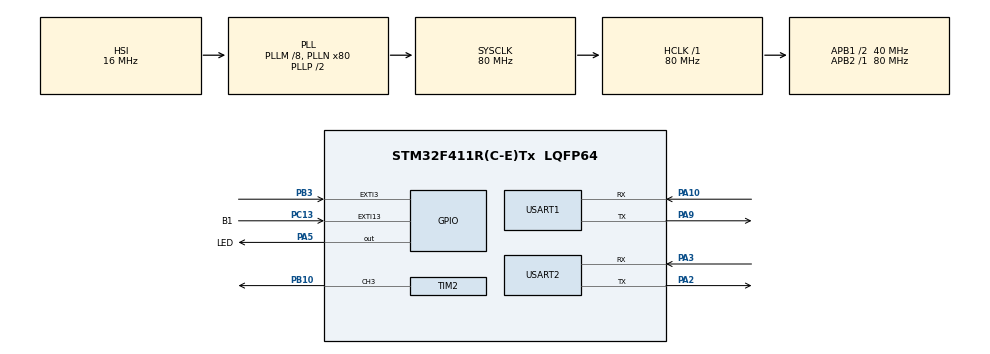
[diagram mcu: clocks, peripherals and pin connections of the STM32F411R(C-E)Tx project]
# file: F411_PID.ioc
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Dma.Request0=USART2_RX
Dma.USART2_RX.0.Direction=DMA_PERIPH_TO_MEMORY
Dma.USART2_RX.0.FIFOMode=DMA_FIFOMODE_DISABLE
Dma.USART2_RX.0.Instance=DMA1_Stream5
Dma.USART2_RX.0.MemDataAlignment=DMA_MDATAALIGN_BYTE
Dma.USART2_RX.0.MemInc=DMA_MINC_ENABLE
Dma.USART2_RX.0.Mode=DMA_NORMAL
Dma.USART2_RX.0.PeriphDataAlignment=DMA_PDATAALIGN_BYTE
Dma.USART2_RX.0.PeriphInc=DMA_PINC_DISABLE
Dma.USART2_RX.0.Priority=DMA_PRIORITY_LOW
Mcu.Family=STM32F4
Mcu.Name=STM32F411R(C-E)Tx
Mcu.Package=LQFP64
NVIC.DMA1_Stream5_IRQn=true\:0\:0\:false\:false\:true\:false\:true\:true
NVIC.EXTI15_10_IRQn=true\:0\:0\:false\:false\:true\:true\:true\:true
NVIC.EXTI3_IRQn=true\:0\:0\:false\:false\:true\:true\:true\:true
NVIC.PriorityGroup=NVIC_PRIORITYGROUP_4
NVIC.USART2_IRQn=true\:0\:0\:false\:false\:true\:true\:true\:true
PA10.Mode=Asynchronous
PA10.Signal=USART1_RX
PA13.Mode=Serial_Wire
PA13.Signal=SYS_JTMS-SWDIO
PA14.Mode=Serial_Wire
PA14.Signal=SYS_JTCK-SWCLK
PA2.Mode=Asynchronous
PA2.Signal=USART2_TX
PA3.Mode=Asynchronous
PA3.Signal=USART2_RX
PA5.GPIO_Label=LED
PA5.Signal=GPIO_Output
PA9.Mode=Asynchronous
PA9.Signal=USART1_TX
PB10.Signal=S_TIM2_CH3
PB3.Signal=GPXTI3
PC13-ANTI_TAMP.GPIO_Label=B1
PC13-ANTI_TAMP.GPIO_ModeDefaultEXTI=GPIO_MODE_IT_FALLING
PC13-ANTI_TAMP.Signal=GPXTI13
ProjectManager.HeapSize=0x200
ProjectManager.StackSize=0x400
ProjectManager.TargetToolchain=STM32CubeIDE
RCC.48MHZClocksFreq_Value=40000000
RCC.AHBFreq_Value=80000000
RCC.APB1CLKDivider=RCC_HCLK_DIV2
RCC.APB1Freq_Value=40000000
RCC.APB1TimFreq_Value=80000000
RCC.APB2Freq_Value=80000000
RCC.APB2TimFreq_Value=80000000
RCC.CortexFreq_Value=80000000
RCC.HCLKFreq_Value=80000000
RCC.HSE_VALUE=25000000
RCC.HSI_VALUE=16000000
RCC.LSE_VALUE=32768
RCC.PLLM=8
RCC.PLLN=80
RCC.SYSCLKFreq_VALUE=80000000
RCC.SYSCLKSource=RCC_SYSCLKSOURCE_PLLCLK
RCC.VCOOutputFreq_Value=160000000
SH.S_TIM2_CH3.0=TIM2_CH3,PWM Generation3 CH3
TIM2.Channel-PWM\ Generation3\ CH3=TIM_CHANNEL_3
TIM2.Period=7999
USART1.VirtualMode=VM_ASYNC
USART2.VirtualMode=VM_ASYNC
board=custom

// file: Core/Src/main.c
/* USER CODE BEGIN Header */
/**
  ******************************************************************************
  * @file           : main.c
  * @brief          : Main program body
  ******************************************************************************
  * @attention
  *
  * Copyright (c) 2025 STMicroelectronics.
  * All rights reserved.
  *
  * This software is licensed under terms that can be found in the LICENSE file
  * in the root directory of this software component.
  * If no LICENSE file comes with this software, it is provided AS-IS.
  *
  ******************************************************************************
  */
/* USER CODE END Header */
#include "main.h"

/* USER CODE BEGIN Includes */
#include <stdio.h>
#include <string.h>
#include <stdlib.h>
/* USER CODE END Includes */

TIM_HandleTypeDef htim2;

UART_HandleTypeDef huart1;
UART_HandleTypeDef huart2;
DMA_HandleTypeDef hdma_usart2_rx;

/* USER CODE BEGIN PV */
uint8_t buffer[]= {0,0,0,0,0,0,0,0,0,0,0,0,0,0,0,0};
/* USER CODE END PV */

void SystemClock_Config(void);
static void MX_GPIO_Init(void);
static void MX_DMA_Init(void);
static void MX_TIM2_Init(void);
static void MX_USART1_UART_Init(void);
static void MX_USART2_UART_Init(void);
/* USER CODE BEGIN PFP */
#define PUTCHAR_PROTOTYPE int __io_putchar(int ch)
/* USER CODE END PFP */

/* USER CODE BEGIN 0 */
volatile int counter = 0;
volatile int contador = 0;
volatile int IsReceived = 0;

uint16_t start = 0;
uint16_t interval = 1000;
//float set_point = 100;
float proc_var = 0;

float   tempo = 0;
float   cv = 0;
float 	cv1 = 0;
float error = 0;
float error1 = 0;
float error2 = 0;

float set_point = 100.00;
float kp = 1.0;
float ki = 1.0;
float kd = 0.01;
float Tm = 0.1;		// Tiempo de muestreo 100 ms

/* USER CODE END 0 */

int main(void)
{

  /* MCU Configuration--------------------------------------------------------*/

  /* Reset of all peripherals, Initializes the Flash interface and the Systick. */
  HAL_Init();

  /* Configure the system clock */
  SystemClock_Config();

  /* Initialize all configured peripherals */
  MX_GPIO_Init();
  MX_DMA_Init();
  MX_TIM2_Init();
  MX_USART1_UART_Init();
  MX_USART2_UART_Init();
  /* USER CODE BEGIN 2 */
  HAL_UART_Receive_DMA(&huart2, buffer, 16);
  uint16_t duty_cycle = 0;
  /* USER CODE END 2 */

  /* Infinite loop */
  /* USER CODE BEGIN WHILE */
  uint16_t interval = 100;		// el ciclo dura 100 ms
   //kp = 1.0; ki = 1.0; kd = 0.01; set_point = 70.00;
   kp = 0.0; ki = 0.0; kd = 0.00; set_point = 0.00;
  while (1)
  {
	uint32_t current_time = HAL_GetTick();
	if((current_time - start) >= interval){
		start = current_time;
		proc_var = ((float)counter*10)*60/(495.0); 		//RPM del eje final, 11 ranuras y reduccion de 45
		contador = counter;
		  counter = 0;
	  }
	//printf("Received %s \n\r ", buffer);

	if (IsReceived == 1){
	 set_point = ((buffer[0]-48)*100.0 + (buffer[1]-48)*10.0  + (buffer[2]-48)*1.0 + (buffer[3]-48)*0.1);
     kp = (buffer[4]-48)*10 + (buffer[5]-48) + (buffer[6]-48)*0.1 + (buffer[7]-48)*0.01;
     ki = (buffer[8]-48)*10 + (buffer[9]-48) + (buffer[10]-48)*0.1 + (buffer[11]-48)*0.01;
     //kd = (buffer[12]-48)*10 + (buffer[13]-48) + (buffer[14]-48)*0.1 + (buffer[15]-48)*0.01;
     IsReceived = 0;
	}

	error = set_point - proc_var;
	cv = cv1 + (kp + kd/Tm)*error + (-kp + ki*Tm - 2*kd/Tm)*error1 + (kd/Tm)*error2;
	cv1 = cv;
	error2 = error1;
	error1 = error;
	//if (cv > 150.0){ cv = 150.0;}
	//if (cv < 20.0){	cv = 20.0;}
	duty_cycle = (int)(cv*8000.0)/100.0;
	__HAL_TIM_SET_COMPARE(&htim2, TIM_CHANNEL_3,duty_cycle);

	//printf("Received %s \n\r ", buffer);
	/*
    printf("Set Point %2.2f \n\r ", set_point);
    printf("Kp %2.2f \n\r ", kp);
    printf("Ki %2.2f \n\r ", ki);
    printf("Kd %2.2f \n\r ", kd);
	printf("Process Value %4.2f \n\r ",proc_var);
    printf("CV %4.2f \n\r ",cv);
    printf("Error %4.2f \n\r ",error);
*/
    	printf("%4.2f \n\r",proc_var);
	HAL_Delay(100);

    /* USER CODE END WHILE */

  }
}

void SystemClock_Config(void)
{
  RCC_OscInitTypeDef RCC_OscInitStruct = {0};
  RCC_ClkInitTypeDef RCC_ClkInitStruct = {0};

  /** Configure the main internal regulator output voltage
  */
  __HAL_RCC_PWR_CLK_ENABLE();
  __HAL_PWR_VOLTAGESCALING_CONFIG(PWR_REGULATOR_VOLTAGE_SCALE1);

  /** Initializes the RCC Oscillators according to the specified parameters
  * in the RCC_OscInitTypeDef structure.
  */
  RCC_OscInitStruct.OscillatorType = RCC_OSCILLATORTYPE_HSI;
  RCC_OscInitStruct.HSIState = RCC_HSI_ON;
  RCC_OscInitStruct.HSICalibrationValue = RCC_HSICALIBRATION_DEFAULT;
  RCC_OscInitStruct.PLL.PLLState = RCC_PLL_ON;
  RCC_OscInitStruct.PLL.PLLSource = RCC_PLLSOURCE_HSI;
  RCC_OscInitStruct.PLL.PLLM = 8;
  RCC_OscInitStruct.PLL.PLLN = 80;
  RCC_OscInitStruct.PLL.PLLP = RCC_PLLP_DIV2;
  RCC_OscInitStruct.PLL.PLLQ = 4;
  if (HAL_RCC_OscConfig(&RCC_OscInitStruct) != HAL_OK)
  {
    Error_Handler();
  }

  /** Initializes the CPU, AHB and APB buses clocks
  */
  RCC_ClkInitStruct.ClockType = RCC_CLOCKTYPE_HCLK|RCC_CLOCKTYPE_SYSCLK
                              |RCC_CLOCKTYPE_PCLK1|RCC_CLOCKTYPE_PCLK2;
  RCC_ClkInitStruct.SYSCLKSource = RCC_SYSCLKSOURCE_PLLCLK;
  RCC_ClkInitStruct.AHBCLKDivider = RCC_SYSCLK_DIV1;
  RCC_ClkInitStruct.APB1CLKDivider = RCC_HCLK_DIV2;
  RCC_ClkInitStruct.APB2CLKDivider = RCC_HCLK_DIV1;

  if (HAL_RCC_ClockConfig(&RCC_ClkInitStruct, FLASH_LATENCY_2) != HAL_OK)
  {
    Error_Handler();
  }
}

static void MX_TIM2_Init(void)
{

  TIM_MasterConfigTypeDef sMasterConfig = {0};
  TIM_OC_InitTypeDef sConfigOC = {0};

  htim2.Instance = TIM2;
  htim2.Init.Prescaler = 0;
  htim2.Init.CounterMode = TIM_COUNTERMODE_UP;
  htim2.Init.Period = 7999;
  htim2.Init.ClockDivision = TIM_CLOCKDIVISION_DIV1;
  htim2.Init.AutoReloadPreload = TIM_AUTORELOAD_PRELOAD_DISABLE;
  if (HAL_TIM_PWM_Init(&htim2) != HAL_OK)
  {
    Error_Handler();
  }
  sMasterConfig.MasterOutputTrigger = TIM_TRGO_RESET;
  sMasterConfig.MasterSlaveMode = TIM_MASTERSLAVEMODE_DISABLE;
  if (HAL_TIMEx_MasterConfigSynchronization(&htim2, &sMasterConfig) != HAL_OK)
  {
    Error_Handler();
  }
  sConfigOC.OCMode = TIM_OCMODE_PWM1;
  sConfigOC.Pulse = 0;
  sConfigOC.OCPolarity = TIM_OCPOLARITY_HIGH;
  sConfigOC.OCFastMode = TIM_OCFAST_DISABLE;
  if (HAL_TIM_PWM_ConfigChannel(&htim2, &sConfigOC, TIM_CHANNEL_3) != HAL_OK)
  {
    Error_Handler();
  }
  /* USER CODE BEGIN TIM2_Init 2 */
  HAL_TIM_Base_Start(&htim2);
  HAL_TIM_PWM_Start(&htim2, TIM_CHANNEL_3);

  /* USER CODE END TIM2_Init 2 */
  HAL_TIM_MspPostInit(&htim2);

}

static void MX_USART1_UART_Init(void)
{

  huart1.Instance = USART1;
  huart1.Init.BaudRate = 115200;
  huart1.Init.WordLength = UART_WORDLENGTH_8B;
  huart1.Init.StopBits = UART_STOPBITS_1;
  huart1.Init.Parity = UART_PARITY_NONE;
  huart1.Init.Mode = UART_MODE_TX_RX;
  huart1.Init.HwFlowCtl = UART_HWCONTROL_NONE;
  huart1.Init.OverSampling = UART_OVERSAMPLING_16;
  if (HAL_UART_Init(&huart1) != HAL_OK)
  {
    Error_Handler();
  }

}

static void MX_USART2_UART_Init(void)
{

  huart2.Instance = USART2;
  huart2.Init.BaudRate = 115200;
  huart2.Init.WordLength = UART_WORDLENGTH_8B;
  huart2.Init.StopBits = UART_STOPBITS_1;
  huart2.Init.Parity = UART_PARITY_NONE;
  huart2.Init.Mode = UART_MODE_TX_RX;
  huart2.Init.HwFlowCtl = UART_HWCONTROL_NONE;
  huart2.Init.OverSampling = UART_OVERSAMPLING_16;
  if (HAL_UART_Init(&huart2) != HAL_OK)
  {
    Error_Handler();
  }

}

static void MX_DMA_Init(void)
{

  /* DMA controller clock enable */
  __HAL_RCC_DMA1_CLK_ENABLE();

  /* DMA interrupt init */
  /* DMA1_Stream5_IRQn interrupt configuration */
  HAL_NVIC_SetPriority(DMA1_Stream5_IRQn, 0, 0);
  HAL_NVIC_EnableIRQ(DMA1_Stream5_IRQn);

}

static void MX_GPIO_Init(void)
{
  GPIO_InitTypeDef GPIO_InitStruct = {0};

  /* GPIO Ports Clock Enable */
  __HAL_RCC_GPIOC_CLK_ENABLE();
  __HAL_RCC_GPIOA_CLK_ENABLE();
  __HAL_RCC_GPIOB_CLK_ENABLE();

  /*Configure GPIO pin Output Level */
  HAL_GPIO_WritePin(LED_GPIO_Port, LED_Pin, GPIO_PIN_RESET);

  /*Configure GPIO pin : B1_Pin */
  GPIO_InitStruct.Pin = B1_Pin;
  GPIO_InitStruct.Mode = GPIO_MODE_IT_FALLING;
  GPIO_InitStruct.Pull = GPIO_NOPULL;
  HAL_GPIO_Init(B1_GPIO_Port, &GPIO_InitStruct);

  /*Configure GPIO pin : LED_Pin */
  GPIO_InitStruct.Pin = LED_Pin;
  GPIO_InitStruct.Mode = GPIO_MODE_OUTPUT_PP;
  GPIO_InitStruct.Pull = GPIO_NOPULL;
  GPIO_InitStruct.Speed = GPIO_SPEED_FREQ_LOW;
  HAL_GPIO_Init(LED_GPIO_Port, &GPIO_InitStruct);

  /*Configure GPIO pin : PB3 */
  GPIO_InitStruct.Pin = GPIO_PIN_3;
  GPIO_InitStruct.Mode = GPIO_MODE_IT_RISING;
  GPIO_InitStruct.Pull = GPIO_NOPULL;
  HAL_GPIO_Init(GPIOB, &GPIO_InitStruct);

  /* EXTI interrupt init*/
  HAL_NVIC_SetPriority(EXTI3_IRQn, 0, 0);
  HAL_NVIC_EnableIRQ(EXTI3_IRQn);

  HAL_NVIC_SetPriority(EXTI15_10_IRQn, 0, 0);
  HAL_NVIC_EnableIRQ(EXTI15_10_IRQn);

}

/* USER CODE BEGIN 4 */
void HAL_UART_RxCpltCallback(UART_HandleTypeDef *huart){
	  HAL_UART_Transmit(&huart2, buffer, 1, 0xFFFF);
	  HAL_UART_Receive_DMA(&huart2, buffer, 16);
	  IsReceived = 1;
}
void HAL_GPIO_EXTI_Callback(uint16_t GPIO_Pin)
{
  if(GPIO_Pin == GPIO_PIN_13) {
    //HAL_GPIO_WritePin(GPIOA, GPIO_PIN_5, GPIO_PIN_SET);
    HAL_GPIO_TogglePin(GPIOA, GPIO_PIN_5);
    //BSP_LED_Toggle(LED2_Pin);
  } else {
      __NOP();
  }
  if(GPIO_Pin == GPIO_PIN_3) {
    counter ++;
    //BSP_LED_Toggle(LED2_Pin);
  } else {
      __NOP();
  }

}
PUTCHAR_PROTOTYPE
{
  /* Place your implementation of fputc here */
  /* e.g. write a character to the USART1 and Loop until the end of transmission */
  HAL_UART_Transmit(&huart2, (uint8_t *)&ch, 1, 0xFFFF);

  return ch;
}

/* USER CODE END 4 */

void Error_Handler(void)
{
  __disable_irq();
  while (1)
  {
  }
}
